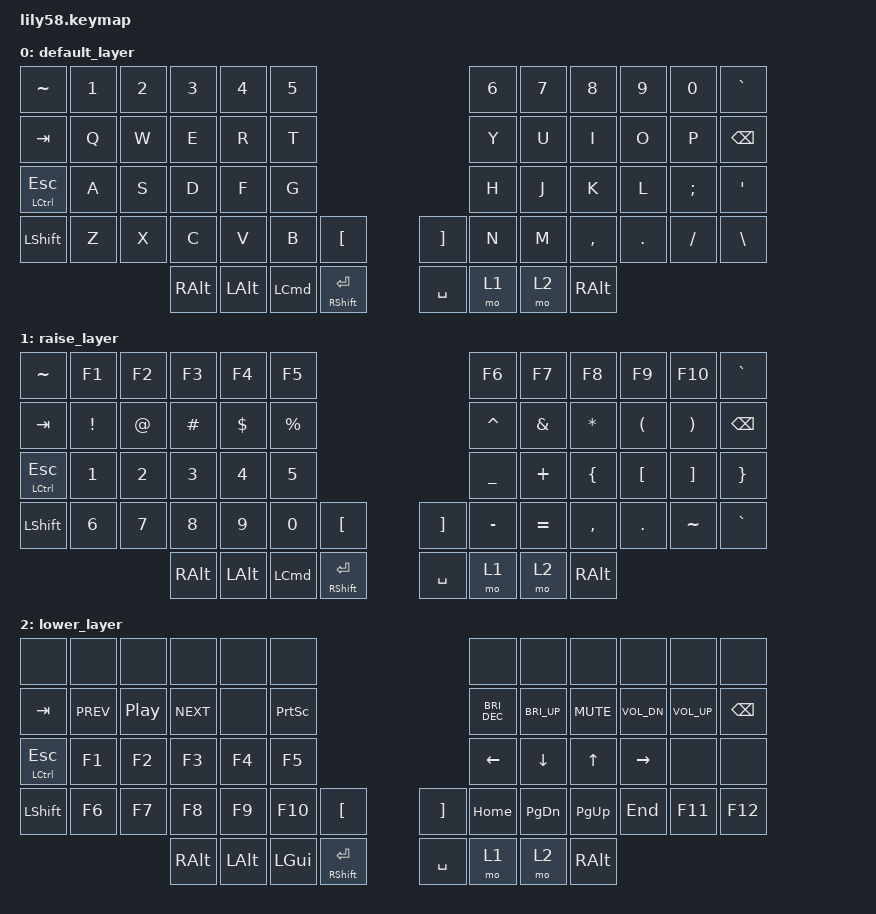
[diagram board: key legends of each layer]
/*
 * Copyright (c) 2020 The ZMK Contributors
 *
 * SPDX-License-Identifier: MIT
 */

#include <behaviors.dtsi>
#include <dt-bindings/zmk/keys.h>

/ {
    keymap {
        compatible = "zmk,keymap";

        default_layer {
            // ------------------------------------------------------------------------------------------------------------
            // |  ESC  |  1  |  2  |  3   |  4   |  5   |                   |  6   |  7    |  8    |  9   |   0   |   `   |
            // |  TAB  |  Q  |  W  |  E   |  R   |  T   |                   |  Y   |  U    |  I    |  O   |   P   |   -   |
            // |  CTRL |  A  |  S  |  D   |  F   |  G   |                   |  H   |  J    |  K    |  L   |   ;   |   '   |
            // | SHIFT |  Z  |  X  |  C   |  V   |  B   |   "["  |  |  "]"  |  N   |  M    |  ,    |  .   |   /   | SHIFT |
            //                     | ALT  | GUI  | LOWER|  SPACE |  | ENTER | RAISE| BSPC  | GUI   |

            bindings = <
&kp TILDE      &kp N1  &kp N2  &kp N3    &kp N4        &kp N5                                                &kp N6  &kp N7  &kp N8         &kp N9   &kp N0    &kp GRAVE
&kp TAB        &kp Q   &kp W   &kp E     &kp R         &kp T                                                 &kp Y   &kp U   &kp I          &kp O    &kp P     &kp BACKSPACE
&mt LCTRL ESC  &kp A   &kp S   &kp D     &kp F         &kp G                                                 &kp H   &kp J   &kp K          &kp L    &kp SEMI  &kp SQT
&kp LSHFT      &kp Z   &kp X   &kp C     &kp V         &kp B             &kp LBKT                 &kp RBKT   &kp N   &kp M   &kp COMMA      &kp DOT  &kp FSLH  &kp BACKSLASH
                               &kp RALT  &kp LEFT_ALT  &kp LEFT_COMMAND  &mt RIGHT_SHIFT ENTER    &kp SPACE  &mo 1   &mo 2   &kp RIGHT_ALT
            >;
        };

        raise_layer {
            bindings = <
&kp TILDE      &kp F1        &kp F2  &kp F3     &kp F4        &kp F5                                                &kp F6     &kp F7         &kp F8          &kp F9                &kp F10                &kp GRAVE
&kp TAB        &kp EXCL      &kp AT  &kp POUND  &kp DOLLAR    &kp PERCENT                                           &kp CARET  &kp AMPERSAND  &kp STAR        &kp LEFT_PARENTHESIS  &kp RIGHT_PARENTHESIS  &kp BACKSPACE
&mt LCTRL ESC  &kp N1        &kp N2  &kp N3     &kp N4        &kp N5                                                &kp UNDER  &kp PLUS       &kp LEFT_BRACE  &kp LEFT_BRACKET      &kp RIGHT_BRACKET      &kp RIGHT_BRACE
&kp LSHFT      &kp NUMBER_6  &kp N7  &kp N8     &kp N9        &kp N0            &kp LBKT                 &kp RBKT   &kp MINUS  &kp EQUAL      &kp COMMA       &kp DOT               &kp TILDE              &kp GRAVE
                                     &kp RALT   &kp LEFT_ALT  &kp LEFT_COMMAND  &mt RIGHT_SHIFT ENTER    &kp SPACE  &mo 1      &mo 2          &kp RIGHT_ALT
            >;
        };

        lower_layer {
            // ------------------------------------------------------------------------------------------------------------
            // | BTCLR | BT1 | BT2 |  BT3 |  BT4 |  BT5 |                   |      |       |       |      |       |       |
            // |  F1   |  F2 |  F3 |  F4  |  F5  |  F6  |                   |  F7  |  F8   |  F9   |  F10 |  F11  |  F12  |
            // |   `   |  !  |  @  |  #   |  $   |  %   |                   |  ^   |  &    |  *    |  (   |   )   |   ~   |
            // |       |     |     |      |      |      |        |  |       |      |  _    |  +    |  {   |   }   |  "|"  |
            //                     |      |      |      |        |  |       |      |       |       |

            bindings = <
&none             &none       &none     &none       &none         &none                                                     &none          &none         &none       &none         &none         &none
&kp TAB           &kp C_PREV  &kp C_PP  &kp C_NEXT  &none         &kp PSCRN                                                 &kp C_BRI_DEC  &kp C_BRI_UP  &kp C_MUTE  &kp C_VOL_DN  &kp C_VOL_UP  &kp BACKSPACE
&mt LCTRL ESCAPE  &kp F1      &kp F2    &kp F3      &kp F4        &kp F5                                                    &kp LEFT       &kp DOWN      &kp UP      &kp RIGHT     &none         &none
&kp LSHIFT        &kp F6      &kp F7    &kp F8      &kp F9        &kp F10       &kp LEFT_BRACKET         &kp RIGHT_BRACKET  &kp HOME       &kp PG_DN     &kp PG_UP   &kp END       &kp F11       &kp F12
                                        &kp RALT    &kp LEFT_ALT  &kp LEFT_GUI  &mt RIGHT_SHIFT ENTER    &kp SPACE          &mo 1          &mo 2         &kp RALT
            >;
        };
    };
};
